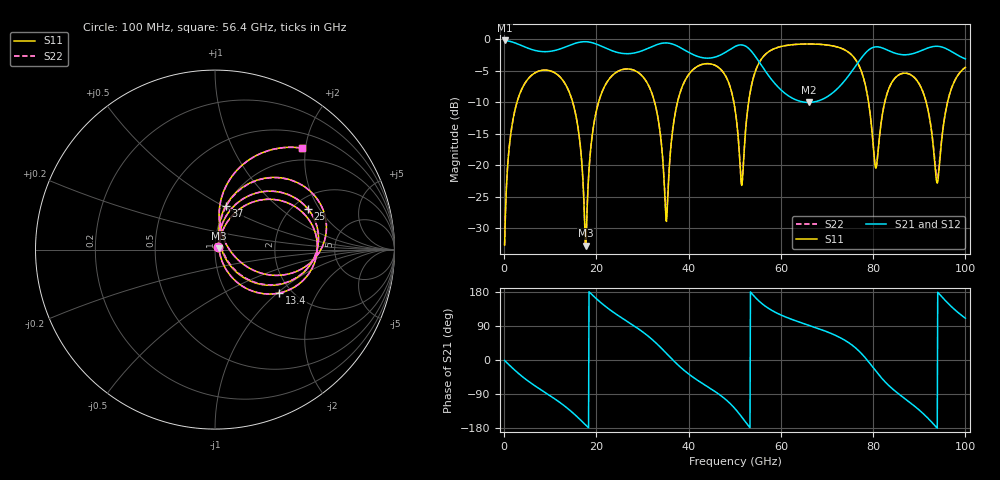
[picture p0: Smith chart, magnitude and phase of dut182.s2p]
! Touchstone file exported from HFSS 2026.1.0
!  File:  C:/ffzhzh/LocalFiles/Ansys_Project_Files/temp_test_TSV_RDL_182_1783476478_33644.aedt
!  Generated:  10:16:50 AM Jul  8, 2026
!  Design:  TSV_RDL
!  Project:  temp_test_TSV_RDL_182_1783476478_33644
! Variables:
!  h_bsmrdl = 3.11um
!  h_ox = 20um
!  h_rdl = 5um
!  h_sub = 91.25um
!  h_tmrdl = 3.09um
!  h_tsv = 91.25um
!  h_via = 3um
!  l_bsmrdl = 146.91um
!  l_sub = 2978.39um
!  l_tmrdl = 512.53um
!  m_sub = 200um
!  pitch = 56.44um
!  r_tsv = 12.12um
!  s_tmrdl = 10um
!  w_bsmrdl = 12.05um
!  w_sub = 500um
!  w_tmrdl = 17.13um
!  x_tsv_center1 = 521.095um
!  x_tsv_center2 = 680.055um
!  x_tsv_center3 = 1209.715um
!  x_tsv_center4 = 1368.675um
!  x_tsv_center5 = 1898.335um
!  x_tsv_center6 = 2057.295um
# GHz S MA R 50.000000
! Terminal data exported
! Port[1] = TM_RDL1_1_T1
! Port[2] = TM_RDL5_1_T1
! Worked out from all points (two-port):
!   1000 points, 100 MHz to 100 GHz, reference 50 ohm
!   highest |S21| = -0.17 dB at 100 MHz (marker M1); lowest = -10.0 dB at 66 GHz (marker M2)
!   |S21| within 3 dB of the highest: start of sweep to 54.91 GHz; 77.23 GHz to end of sweep
!   lowest |S11| = -32.7 dB at 17.7 GHz (marker M3), VSWR 1.05, Z = 52.3 + j0.649 ohm
!   |S11| at or under -10 dB: 14.87 GHz to 20.46 GHz (5.593 GHz wide, 31.7 % of centre); 32.63 GHz to 37.58 GHz (4.947 GHz wide, 14.1 % of centre); 91.51 GHz to 96.13 GHz (4.619 GHz wide, 4.92 % of centre) (the widest 3 of 6)
!   |S22| runs from -32.8 to -0.7 dB; largest |S21 - S12| = 8.1e-14
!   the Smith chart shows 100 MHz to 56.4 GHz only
!   S11 on the Smith chart (normalised r, x): 100 MHz: 1.04, +0.03; 13.4 GHz: 1.73, -1.03; 25 GHz: 2.41, +1.59; 37 GHz: 0.99, +0.51; 56.4 GHz: 0.76, +1.94
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0.1  0.02321 34.0  0.9809 -1.2  0.9809 -1.2  0.02321 34.0
! Gamma 0 0 0 0
! Port Impedance 50 0 50 0
3.7  0.3936 45.2  0.8958 -41.4  0.8958 -41.4  0.3936 45.2
13.4  0.4329 -33.9  0.8739 -124.2  0.8739 -124.2  0.4329 -33.9
16.8  0.1091 -60.9  0.9557 -161.0  0.9557 -161.0  0.109 -61.0
17.7  0.02306 15.6  0.9588 -171.7  0.9588 -171.7  0.02278 15.7
20.1  0.2811 65.0  0.9146 160.5  0.9146 160.5  0.2811 65.1
25  0.5655 23.4  0.7813 115.1  0.7813 115.1  0.5654 23.5
33.4  0.2323 -43.8  0.9162 39.4  0.9162 39.4  0.2326 -43.0
35.2  0.03583 24.9  0.9375 17.3  0.9375 17.3  0.03915 24.5
37  0.2489 76.3  0.9044 -5.0  0.9044 -5.0  0.2495 75.6
44.6  0.6399 15.5  0.7107 -74.3  0.7107 -74.3  0.6401 15.4
50.1  0.2717 -27.6  0.8798 -129.1  0.8798 -129.1  0.2719 -27.6
51.6  0.07209 42.2  0.9034 -151.8  0.9034 -151.8  0.07254 42.0
56.4  0.7455 49.3  0.5758 143.9  0.5758 143.9  0.7456 49.3
66  0.9199 1.7  0.3156 91.8  0.3156 91.8  0.9199 1.7
66.7  0.9193 -1.0  0.3166 88.9  0.3166 88.9  0.9194 -0.9
76.1  0.6982 -50.8  0.6076 32.9  0.6076 32.9  0.6983 -50.6
80.6  0.09492 -25.5  0.8731 -29.6  0.8731 -29.6  0.09639 -25.3
83.4  0.4056 14.4  0.8131 -67.4  0.8131 -67.4  0.406 14.5
89.8  0.454 -36.0  0.7969 -130.1  0.7969 -130.1  0.4547 -35.4
93.3  0.111 -43.6  0.8806 -171.9  0.8806 -171.9  0.1158 -40.7
100  0.5991 17.0  0.7002 110.2  0.7002 110.2  0.5998 16.6
